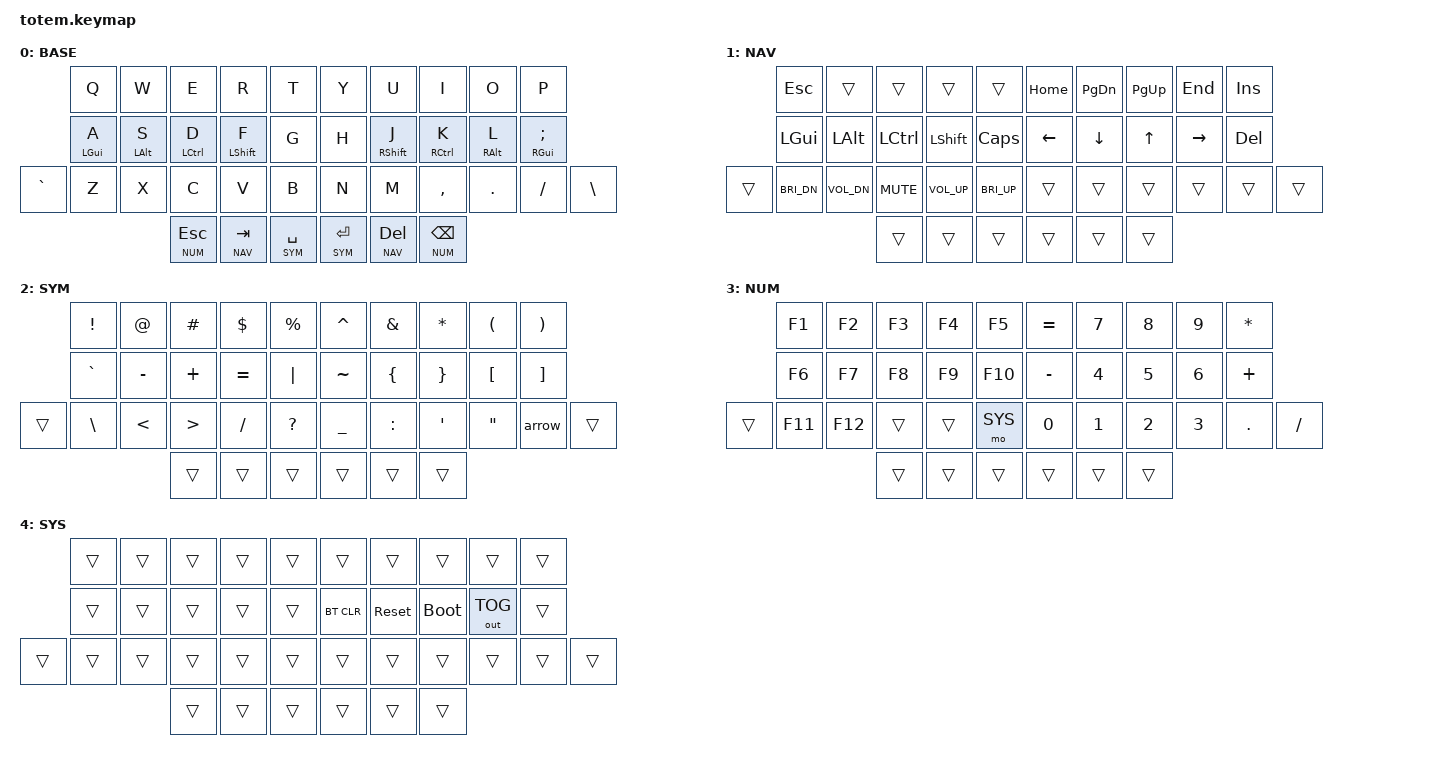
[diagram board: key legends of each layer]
//
//                                                        ▀▀▀▀▀     ▀▀▀▀▀          ▀▀█▀▀
//                                                        ▄▀▀▀▄  ▄  ▄▀▀▀▄  ▄  ▄▀▀▀▄  █  ▄▀▀▀▄
//                                                        █   █  █  █   █  █  █   █  █  █   █
//                                                         ▀▀▀   █   ▀▀▀   █   ▀▀▀   ▀   ▀▀▀
//                                                               █      ▄▄▄█▄▄▄    █   █  
//                                                               ▀      █  █  █     █▄█
//                                                             ▀▀▀▀▀    █  █  █      ▀
//                                                                      ▀  ▀  ▀
//
// ▄▄▄▄▄▄▄▄▄▄▄▄▄▄▄▄▄▄▄▄▄▄▄▄▄▄▄▄▄▄▄▄▄▄▄▄▄▄▄▄▄▄▄▄▄▄▄▄▄▄▄▄▄▄▄▄▄▄▄▄▄▄▄▄▄▄▄▄▄▄▄▄▄▄▄▄▄▄▄▄▄▄▄▄▄▄▄▄▄▄▄▄▄▄▄▄▄▄▄▄▄▄▄▄▄▄▄▄▄▄▄▄▄▄▄▄▄▄▄▄▄▄▄▄▄▄▄▄▄▄▄▄▄▄▄▄▄▄▄▄▄▄▄▄▄▄▄▄▄
       

#include <behaviors.dtsi>
#include <dt-bindings/zmk/keys.h>
#include <dt-bindings/zmk/bt.h>
#include <dt-bindings/zmk/outputs.h>

#define BASE 0
#define NAV  1
#define SYM  2
#define NUM  3
#define SYS  4  // reset/bootloader/BT — nested under NUM, deliberately hard to reach

&mt {
  quick-tap-ms = <100>;
  global-quick-tap;
  flavor = "tap-preferred";
  tapping-term-ms = <170>;
};

/ {
     combos {
            compatible = "zmk,combos";
            combo_esc {
                timeout-ms = <50>;
                key-positions = <0 1>;
                bindings = <&kp ESC>;
            };
    };

    macros {
        arrow: arrow {
            label = "arrow";
            compatible = "zmk,behavior-macro";
            #binding-cells = <0>;
            bindings
                = <&macro_tap &kp MINUS &kp GT>
                ;
        };
    };

        keymap {
                compatible = "zmk,keymap";
// ▄▄▄▄▄▄▄▄▄▄▄▄▄▄▄▄▄▄▄▄▄▄▄▄▄▄▄▄▄▄▄▄▄▄▄▄▄▄▄▄▄▄▄▄▄▄▄▄▄▄▄▄▄▄▄▄▄▄▄▄▄▄▄▄▄▄▄▄▄▄▄▄▄▄▄▄▄▄▄▄▄▄▄▄▄▄▄▄▄▄▄▄▄▄▄▄▄▄▄▄▄▄▄▄▄▄▄▄▄▄▄▄▄▄▄▄▄▄▄▄▄▄▄▄▄▄▄▄▄▄▄▄▄▄▄▄▄▄▄▄▄▄▄▄▄▄▄▄▄

                base_layer {
// ┏━━━━━━━━━━━━━━━━━━━━━━━━━━━━━━━━━━━━━━━┓
label= "BASE"                              ;
// ┗━━━━━━━━━━━━━━━━━━━━━━━━━━━━━━━━━━━━━━━┛
//             ┏━━━━━━━━━━━┳━━━━━━━━━━━┳━━━━━━━━━━━┳━━━━━━━━━━━┳━━━━━━━━━━━┓   ┏━━━━━━━━━━━┳━━━━━━━━━━━┳━━━━━━━━━━━┳━━━━━━━━━━━┳━━━━━━━━━━━┓
//             ┃     Q     ┃     W     ┃     E     ┃     R     ┃     T     ┃   ┃     Y     ┃     U     ┃     I     ┃     O     ┃     P     ┃
//             ┣━━━━━━━━━━━╋━━━━━━━━━━━╋━━━━━━━━━━━╋━━━━━━━━━━━╋━━━━━━━━━━━┫   ┣━━━━━━━━━━━╋━━━━━━━━━━━╋━━━━━━━━━━━╋━━━━━━━━━━━╋━━━━━━━━━━━┫
//             ┃     A     ┃     S     ┃     D     ┃     F     ┃     G     ┃   ┃     H     ┃     J     ┃     K     ┃     L     ┃     ;     ┃
// ┏━━━━━━━━━━━╋━━━━━━━━━━━╋━━━━━━━━━━━╋━━━━━━━━━━━╋━━━━━━━━━━━╋━━━━━━━━━━━┫   ┣━━━━━━━━━━━╋━━━━━━━━━━━╋━━━━━━━━━━━╋━━━━━━━━━━━╋━━━━━━━━━━━╋━━━━━━━━━━━┓
// ┃     `     ┃     Z     ┃     X     ┃     C     ┃     V     ┃     B     ┃   ┃     N     ┃     M     ┃     ,     ┃     .     ┃     /     ┃     \     ┃
// ┗━━━━━━━━━━━┻━━━━━━━━━━━┻━━━━━━━━━━━╋━━━━━━━━━━━╋━━━━━━━━━━━╋━━━━━━━━━━━┫   ┣━━━━━━━━━━━╋━━━━━━━━━━━╋━━━━━━━━━━━╋━━━━━━━━━━━┻━━━━━━━━━━━┻━━━━━━━━━━━┛
//                     mirrored layer holds: outer=NUM · middle=NAV · inner=SYM (same on both halves)
//                                     ┃ ESC(NUM)  ┃ TAB(NAV)  ┃ SPC(SYM)  ┃   ┃ RET(SYM)  ┃ DEL(NAV)  ┃ BSPC(NUM) ┃
//                                     ┗━━━━━━━━━━━┻━━━━━━━━━━━┻━━━━━━━━━━━┛   ┗━━━━━━━━━━━┻━━━━━━━━━━━┻━━━━━━━━━━━┛
 bindings = <
// ╷           ╷           ╷           ╷           ╷           ╷           ╷   ╷           ╷           ╷           ╷           ╷           ╷           ╷

                &kp Q       &kp W       &kp E       &kp R       &kp T           &kp Y       &kp U       &kp I       &kp O       &kp P
                &mt LGUI A  &mt LALT S  &mt LCTRL D &mt LSHFT F &kp G           &kp H       &mt RSHFT J &mt RCTRL K &mt RALT L  &mt RGUI SEMI
    &kp GRAVE   &kp Z       &kp X       &kp C       &kp V       &kp B           &kp N       &kp M       &kp COMMA   &kp DOT     &kp FSLH    &kp BSLH
                                        &lt NUM ESC &lt NAV TAB &lt SYM SPACE   &lt SYM RET &lt NAV DEL &lt NUM BSPC
                        >;
                };

// ▄▄▄▄▄▄▄▄▄▄▄▄▄▄▄▄▄▄▄▄▄▄▄▄▄▄▄▄▄▄▄▄▄▄▄▄▄▄▄▄▄▄▄▄▄▄▄▄▄▄▄▄▄▄▄▄▄▄▄▄▄▄▄▄▄▄▄▄▄▄▄▄▄▄▄▄▄▄▄▄▄▄▄▄▄▄▄▄▄▄▄▄▄▄▄▄▄▄▄▄▄▄▄▄▄▄▄▄▄▄▄▄▄▄▄▄▄▄▄▄▄▄▄▄▄▄▄▄▄▄▄▄▄▄▄▄▄▄▄▄▄▄▄▄▄▄▄▄▄


                nav_layer {
// ┏━━━━━━━━━━━━━━━━━━━━━━━━━━━━━━━━━━━━━━━┓
label= "NAV"                               ;
// ┗━━━━━━━━━━━━━━━━━━━━━━━━━━━━━━━━━━━━━━━┛
//             ┏━━━━━━━━━━━┳━━━━━━━━━━━┳━━━━━━━━━━━┳━━━━━━━━━━━┳━━━━━━━━━━━┓   ┏━━━━━━━━━━━┳━━━━━━━━━━━┳━━━━━━━━━━━┳━━━━━━━━━━━┳━━━━━━━━━━━┓
//             ┃    ESC    ┃           ┃           ┃           ┃           ┃   ┃   HOME    ┃   PGDN    ┃   PGUP    ┃    END    ┃  INSERT   ┃
//             ┣━━━━━━━━━━━╋━━━━━━━━━━━╋━━━━━━━━━━━╋━━━━━━━━━━━╋━━━━━━━━━━━┫   ┣━━━━━━━━━━━╋━━━━━━━━━━━╋━━━━━━━━━━━╋━━━━━━━━━━━╋━━━━━━━━━━━┫
//             ┃   GUI     ┃   ALT     ┃   CTRL    ┃  SHIFT    ┃   CAPS    ┃   ┃   LEFT    ┃   DOWN    ┃    UP     ┃   RIGHT   ┃   DEL     ┃   (arrows = h j k l)
// ┏━━━━━━━━━━━╋━━━━━━━━━━━╋━━━━━━━━━━━╋━━━━━━━━━━━╋━━━━━━━━━━━╋━━━━━━━━━━━┫   ┣━━━━━━━━━━━╋━━━━━━━━━━━╋━━━━━━━━━━━╋━━━━━━━━━━━╋━━━━━━━━━━━╋━━━━━━━━━━━┓
// ┃           ┃  BRI DN   ┃   VOL-    ┃   MUTE    ┃   VOL+    ┃  BRI UP   ┃   ┃           ┃           ┃           ┃           ┃           ┃           ┃
// ┗━━━━━━━━━━━┻━━━━━━━━━━━┻━━━━━━━━━━━╋━━━━━━━━━━━╋━━━━━━━━━━━╋━━━━━━━━━━━┫   ┣━━━━━━━━━━━╋━━━━━━━━━━━╋━━━━━━━━━━━╋━━━━━━━━━━━┻━━━━━━━━━━━┻━━━━━━━━━━━┛
//                                     ┃  ‹thumbs pass through to base›     ┃   ┃  ‹tap = ESC/TAB/SPC · RET/DEL/BSPC›    ┃
//                                     ┗━━━━━━━━━━━┻━━━━━━━━━━━┻━━━━━━━━━━━┛   ┗━━━━━━━━━━━┻━━━━━━━━━━━┻━━━━━━━━━━━┛
 bindings = <
// ╷           ╷           ╷           ╷           ╷           ╷           ╷   ╷           ╷           ╷           ╷           ╷           ╷           ╷

                &kp ESC     &trans      &trans      &trans      &trans          &kp HOME    &kp PG_DN   &kp PG_UP   &kp END     &kp INS
                &kp LGUI    &kp LALT    &kp LCTRL   &kp LSHFT   &kp CAPS        &kp LEFT    &kp DOWN    &kp UP      &kp RIGHT   &kp DEL
    &trans      &kp C_BRI_DN &kp C_VOL_DN &kp C_MUTE &kp C_VOL_UP &kp C_BRI_UP   &trans      &trans      &trans      &trans      &trans      &trans
                                        &trans      &trans      &trans          &trans      &trans      &trans
                        >;
                };

// ▄▄▄▄▄▄▄▄▄▄▄▄▄▄▄▄▄▄▄▄▄▄▄▄▄▄▄▄▄▄▄▄▄▄▄▄▄▄▄▄▄▄▄▄▄▄▄▄▄▄▄▄▄▄▄▄▄▄▄▄▄▄▄▄▄▄▄▄▄▄▄▄▄▄▄▄▄▄▄▄▄▄▄▄▄▄▄▄▄▄▄▄▄▄▄▄▄▄▄▄▄▄▄▄▄▄▄▄▄▄▄▄▄▄▄▄▄▄▄▄▄▄▄▄▄▄▄▄▄▄▄▄▄▄▄▄▄▄▄▄▄▄▄▄▄▄▄▄▄


                sym_layer {
// ┏━━━━━━━━━━━━━━━━━━━━━━━━━━━━━━━━━━━━━━━┓
label= "SYM"                               ;
// ┗━━━━━━━━━━━━━━━━━━━━━━━━━━━━━━━━━━━━━━━┛
//             ┏━━━━━━━━━━━┳━━━━━━━━━━━┳━━━━━━━━━━━┳━━━━━━━━━━━┳━━━━━━━━━━━┓   ┏━━━━━━━━━━━┳━━━━━━━━━━━┳━━━━━━━━━━━┳━━━━━━━━━━━┳━━━━━━━━━━━┓
//             ┃     !     ┃     @     ┃     #     ┃     $     ┃     %     ┃   ┃     ^     ┃     &     ┃     *     ┃     (     ┃     )     ┃
//             ┣━━━━━━━━━━━╋━━━━━━━━━━━╋━━━━━━━━━━━╋━━━━━━━━━━━╋━━━━━━━━━━━┫   ┣━━━━━━━━━━━╋━━━━━━━━━━━╋━━━━━━━━━━━╋━━━━━━━━━━━╋━━━━━━━━━━━┫
//             ┃     `     ┃     -     ┃     +     ┃     =     ┃     |     ┃   ┃     ~     ┃     {     ┃     }     ┃     [     ┃     ]     ┃
// ┏━━━━━━━━━━━╋━━━━━━━━━━━╋━━━━━━━━━━━╋━━━━━━━━━━━╋━━━━━━━━━━━╋━━━━━━━━━━━┫   ┣━━━━━━━━━━━╋━━━━━━━━━━━╋━━━━━━━━━━━╋━━━━━━━━━━━╋━━━━━━━━━━━╋━━━━━━━━━━━┓
// ┃           ┃     \     ┃     <     ┃     >     ┃     /     ┃     ?     ┃   ┃     _     ┃     :     ┃     '     ┃     "     ┃    ->     ┃           ┃
// ┗━━━━━━━━━━━┻━━━━━━━━━━━┻━━━━━━━━━━━╋━━━━━━━━━━━╋━━━━━━━━━━━╋━━━━━━━━━━━┫   ┣━━━━━━━━━━━╋━━━━━━━━━━━╋━━━━━━━━━━━╋━━━━━━━━━━━┻━━━━━━━━━━━┻━━━━━━━━━━━┛
//                                     ┃  ‹thumbs pass through to base›     ┃   ┃  ‹tap = ESC/TAB/SPC · RET/DEL/BSPC›    ┃
//                                     ┗━━━━━━━━━━━┻━━━━━━━━━━━┻━━━━━━━━━━━┛   ┗━━━━━━━━━━━┻━━━━━━━━━━━┻━━━━━━━━━━━┛
 bindings = <
// ╷           ╷           ╷           ╷           ╷           ╷           ╷   ╷           ╷           ╷           ╷           ╷           ╷           ╷

                &kp EXCL    &kp AT      &kp HASH    &kp DLLR    &kp PRCNT       &kp CARET   &kp AMPS    &kp STAR    &kp LPAR    &kp RPAR
                &kp GRAVE   &kp MINUS   &kp PLUS    &kp EQUAL   &kp PIPE        &kp TILDE   &kp LBRC    &kp RBRC    &kp LBKT    &kp RBKT
    &trans      &kp BSLH    &kp LT      &kp GT      &kp FSLH    &kp QMARK       &kp UNDER   &kp COLON   &kp SQT     &kp DQT     &arrow      &trans
                                        &trans      &trans      &trans          &trans      &trans      &trans
                        >;
                };

// ▄▄▄▄▄▄▄▄▄▄▄▄▄▄▄▄▄▄▄▄▄▄▄▄▄▄▄▄▄▄▄▄▄▄▄▄▄▄▄▄▄▄▄▄▄▄▄▄▄▄▄▄▄▄▄▄▄▄▄▄▄▄▄▄▄▄▄▄▄▄▄▄▄▄▄▄▄▄▄▄▄▄▄▄▄▄▄▄▄▄▄▄▄▄▄▄▄▄▄▄▄▄▄▄▄▄▄▄▄▄▄▄▄▄▄▄▄▄▄▄▄▄▄▄▄▄▄▄▄▄▄▄▄▄▄▄▄▄▄▄▄▄▄▄▄▄▄▄▄


                num_layer {
// ┏━━━━━━━━━━━━━━━━━━━━━━━━━━━━━━━━━━━━━━━┓
label= "NUM"                               ;
// ┗━━━━━━━━━━━━━━━━━━━━━━━━━━━━━━━━━━━━━━━┛
//             ┏━━━━━━━━━━━┳━━━━━━━━━━━┳━━━━━━━━━━━┳━━━━━━━━━━━┳━━━━━━━━━━━┓   ┏━━━━━━━━━━━┳━━━━━━━━━━━┳━━━━━━━━━━━┳━━━━━━━━━━━┳━━━━━━━━━━━┓
//             ┃    F1     ┃    F2     ┃    F3     ┃    F4     ┃    F5     ┃   ┃     =     ┃     7     ┃     8     ┃     9     ┃     *     ┃
//             ┣━━━━━━━━━━━╋━━━━━━━━━━━╋━━━━━━━━━━━╋━━━━━━━━━━━╋━━━━━━━━━━━┫   ┣━━━━━━━━━━━╋━━━━━━━━━━━╋━━━━━━━━━━━╋━━━━━━━━━━━╋━━━━━━━━━━━┫
//             ┃    F6     ┃    F7     ┃    F8     ┃    F9     ┃    F10    ┃   ┃     -     ┃     4     ┃     5     ┃     6     ┃     +     ┃
// ┏━━━━━━━━━━━╋━━━━━━━━━━━╋━━━━━━━━━━━╋━━━━━━━━━━━╋━━━━━━━━━━━╋━━━━━━━━━━━┫   ┣━━━━━━━━━━━╋━━━━━━━━━━━╋━━━━━━━━━━━╋━━━━━━━━━━━╋━━━━━━━━━━━╋━━━━━━━━━━━┓
// ┃           ┃    F11    ┃    F12    ┃           ┃           ┃  SYS(mo)  ┃   ┃     0     ┃     1     ┃     2     ┃     3     ┃     .     ┃     /     ┃
// ┗━━━━━━━━━━━┻━━━━━━━━━━━┻━━━━━━━━━━━╋━━━━━━━━━━━╋━━━━━━━━━━━╋━━━━━━━━━━━┫   ┣━━━━━━━━━━━╋━━━━━━━━━━━╋━━━━━━━━━━━╋━━━━━━━━━━━┻━━━━━━━━━━━┻━━━━━━━━━━━┛
//                                     ┃  ‹thumbs pass through to base›     ┃   ┃  ‹tap = ESC/TAB/SPC · RET/DEL/BSPC›    ┃
//                                     ┗━━━━━━━━━━━┻━━━━━━━━━━━┻━━━━━━━━━━━┛   ┗━━━━━━━━━━━┻━━━━━━━━━━━┻━━━━━━━━━━━┛
 bindings = <
// ╷           ╷           ╷           ╷           ╷           ╷           ╷   ╷           ╷           ╷           ╷           ╷           ╷           ╷

                &kp F1      &kp F2      &kp F3      &kp F4      &kp F5          &kp EQUAL   &kp N7      &kp N8      &kp N9      &kp STAR
                &kp F6      &kp F7      &kp F8      &kp F9      &kp F10         &kp MINUS   &kp N4      &kp N5      &kp N6      &kp PLUS
    &trans      &kp F11     &kp F12     &trans      &trans      &mo SYS         &kp N0      &kp N1      &kp N2      &kp N3      &kp DOT     &kp FSLH
                                        &trans      &trans      &trans          &trans      &trans      &trans
                        >;
                };

// ▄▄▄▄▄▄▄▄▄▄▄▄▄▄▄▄▄▄▄▄▄▄▄▄▄▄▄▄▄▄▄▄▄▄▄▄▄▄▄▄▄▄▄▄▄▄▄▄▄▄▄▄▄▄▄▄▄▄▄▄▄▄▄▄▄▄▄▄▄▄▄▄▄▄▄▄▄▄▄▄▄▄▄▄▄▄▄▄▄▄▄▄▄▄▄▄▄▄▄▄▄▄▄▄▄▄▄▄▄▄▄▄▄▄▄▄▄▄▄▄▄▄▄▄▄▄▄▄▄▄▄▄▄▄▄▄▄▄▄▄▄▄▄▄▄▄▄▄▄


                sys_layer {
// ┏━━━━━━━━━━━━━━━━━━━━━━━━━━━━━━━━━━━━━━━┓
label= "SYS"                               ;
// ┗━━━━━━━━━━━━━━━━━━━━━━━━━━━━━━━━━━━━━━━┛
// reached only from NUM: hold NUM thumb, hold SYS(mo) on the left hand, THEN
// press one of these on the RIGHT hand. Three deliberate points, opposite the
// F-keys — you cannot land here while cycling F1-F12.
//             ┏━━━━━━━━━━━┳━━━━━━━━━━━┳━━━━━━━━━━━┳━━━━━━━━━━━┳━━━━━━━━━━━┓   ┏━━━━━━━━━━━┳━━━━━━━━━━━┳━━━━━━━━━━━┳━━━━━━━━━━━┳━━━━━━━━━━━┓
//             ┃           ┃           ┃           ┃           ┃           ┃   ┃           ┃           ┃           ┃           ┃           ┃
//             ┣━━━━━━━━━━━╋━━━━━━━━━━━╋━━━━━━━━━━━╋━━━━━━━━━━━╋━━━━━━━━━━━┫   ┣━━━━━━━━━━━╋━━━━━━━━━━━╋━━━━━━━━━━━╋━━━━━━━━━━━╋━━━━━━━━━━━┫
//             ┃           ┃           ┃           ┃           ┃           ┃   ┃  BT CLR   ┃   RESET   ┃  BOOTLD   ┃  OUT TOG  ┃           ┃
// ┏━━━━━━━━━━━╋━━━━━━━━━━━╋━━━━━━━━━━━╋━━━━━━━━━━━╋━━━━━━━━━━━╋━━━━━━━━━━━┫   ┣━━━━━━━━━━━╋━━━━━━━━━━━╋━━━━━━━━━━━╋━━━━━━━━━━━╋━━━━━━━━━━━╋━━━━━━━━━━━┓
// ┃           ┃           ┃           ┃           ┃           ┃  (SYS)    ┃   ┃           ┃           ┃           ┃           ┃           ┃           ┃
// ┗━━━━━━━━━━━┻━━━━━━━━━━━┻━━━━━━━━━━━╋━━━━━━━━━━━╋━━━━━━━━━━━╋━━━━━━━━━━━┫   ┣━━━━━━━━━━━╋━━━━━━━━━━━╋━━━━━━━━━━━╋━━━━━━━━━━━┻━━━━━━━━━━━┻━━━━━━━━━━━┛
//                                     ┃           ┃           ┃           ┃   ┃           ┃           ┃           ┃
//                                     ┗━━━━━━━━━━━┻━━━━━━━━━━━┻━━━━━━━━━━━┛   ┗━━━━━━━━━━━┻━━━━━━━━━━━┻━━━━━━━━━━━┛
 bindings = <
// ╷           ╷           ╷           ╷           ╷           ╷           ╷   ╷           ╷           ╷           ╷           ╷           ╷           ╷

                &trans      &trans      &trans      &trans      &trans          &trans      &trans      &trans      &trans      &trans
                &trans      &trans      &trans      &trans      &trans          &bt BT_CLR  &sys_reset  &bootloader &out OUT_TOG &trans
    &trans      &trans      &trans      &trans      &trans      &trans          &trans      &trans      &trans      &trans      &trans      &trans
                                        &trans      &trans      &trans          &trans      &trans      &trans
                        >;
                };
        };
};
